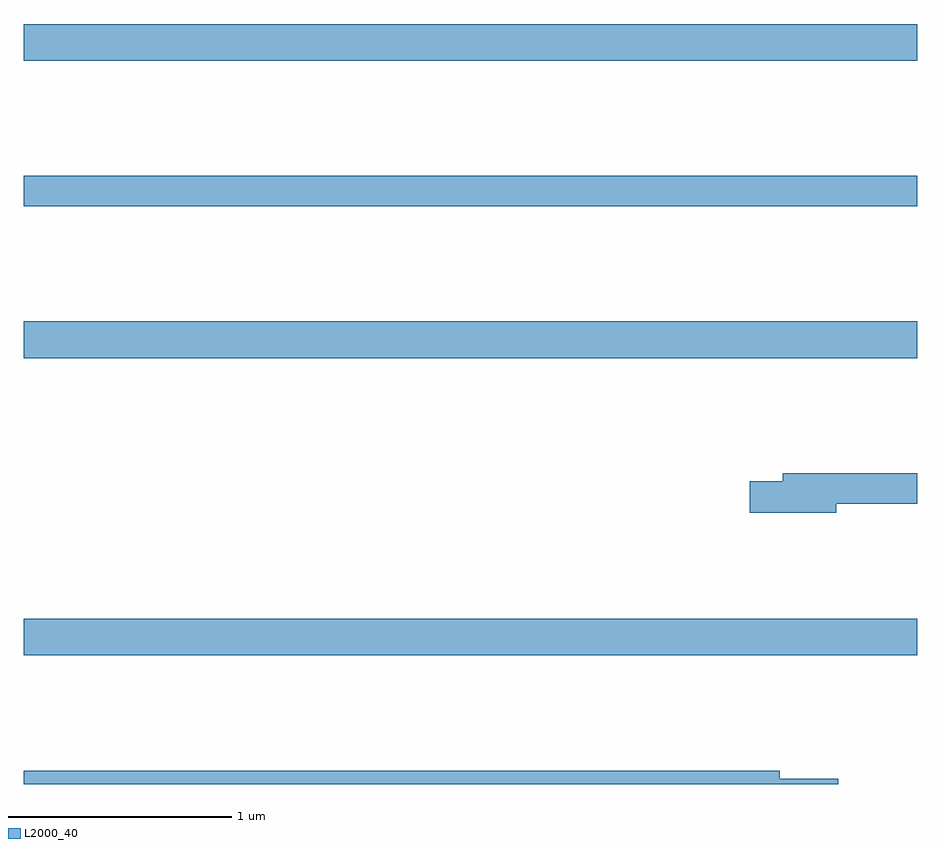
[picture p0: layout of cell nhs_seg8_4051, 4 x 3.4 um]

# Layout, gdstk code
import gdstk
lib = gdstk.Library(unit=1e-6, precision=1e-09)
def R(c, l, rs):  # rectangles x0, y0, x1, y1
    for r in rs: c.add(gdstk.rectangle(r[:2], r[2:], *l))
def A(c, l, x, y, w, h, nx, ny, dx, dy):  # array of equal rectangles
    R(c, l, [(x+i*dx, y+j*dy, x+i*dx+w, y+j*dy+h) for i in range(nx) for j in range(ny)])
def P(c, l, *ps):  # polygons
    for p in ps: c.add(gdstk.Polygon(p, *l))
L2000_40 = (2000, 40)

nhs_seg8_4051 = lib.new_cell('nhs_seg8_4051')
A(nhs_seg8_4051, L2000_40, 359, 1140.476, 4, 0.164, 1, 3, 0, 1.332)
R(nhs_seg8_4051, L2000_40, [(359,1142.488,363,1142.624)])
P(nhs_seg8_4051, L2000_40, [(362.638,1141.156),(363,1141.156),(363,1141.292),(362.399,1141.292),(362.399,1141.256),(362.25,1141.256),(362.25,1141.114),(362.638,1141.114)],
  [(362.647,1139.924),(362.386,1139.924),(362.386,1139.96),(359,1139.96),(359,1139.9),(362.647,1139.9)])

lib.write_gds('nhs_seg8_4051.gds')
